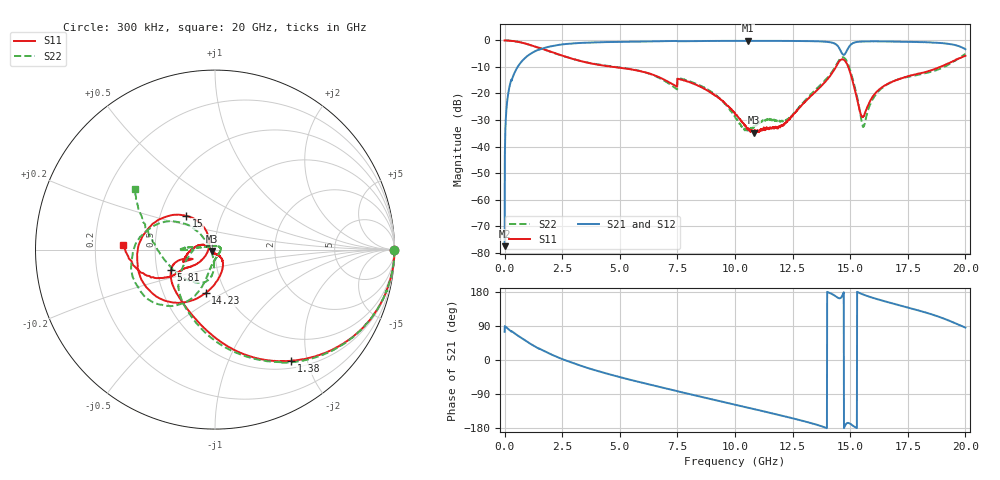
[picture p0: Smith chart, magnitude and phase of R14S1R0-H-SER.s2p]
!{R14S1R0}
!Johanson Technology Inc.
!www.johansontechnology.com
!Test Board Conditions:
!Substrate Type  RO4350B
!Substrate Thickness  20 mil
!Substrate Dk  3.66
!TL Type: GCPW
!TL Trace Width  36 mil
!TL Gap  12 mil
!Electrode orientation  Horizontal
!DUT TOPOLOGY	SERIES
!Mounting Pad LxW  26x36 mil
! Created Wed Nov 25 17:33:21 2020
! 2 Port Network Data from SP1.SP block
! freq  magS11  angS11  magS21  angS21  magS12  angS12  magS22  angS22
# khz S ma R 50
! decimated to every 10th point (10 MHz spacing) of the original 1 MHz Johanson file; values unchanged
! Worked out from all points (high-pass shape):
!   2001 points, 300 kHz to 20 GHz, reference 50 ohm
!   highest |S21| = -0.14 dB at 10.58 GHz (marker M1); lowest = -77.6 dB at 300 kHz (marker M2)
!   |S21| within 3 dB of the highest: 1.613 GHz to 14.54 GHz (12.93 GHz wide, 160 % of centre); 14.9 GHz to 19.97 GHz (5.073 GHz wide, 29.1 % of centre)
!   lowest |S11| = -34.8 dB at 10.83 GHz (marker M3), VSWR 1.04, Z = 48.4 - j0.805 ohm
!   |S11| at or under -10 dB: 4.734 GHz to 14.38 GHz (9.647 GHz wide, 101 % of centre); 14.92 GHz to 18.9 GHz (3.986 GHz wide, 23.6 % of centre)
!   |S22| runs from -34.5 to 0.0 dB; largest |S21 - S12| = 0.013
!   S11 on the Smith chart (normalised r, x): 300 kHz: open; 1.38 GHz: 0.61, -1.73; 5.81 GHz: 0.59, -0.14; 14.23 GHz: 0.80, -0.42; 15 GHz: 0.68, +0.27; 20 GHz: 0.32, +0.02
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300  0.9972 -0.2  0.000132 74.3  0.0002257 75.4  0.997 -0.2
110300  0.9971 -5.3  0.07039 84.4  0.0707 84.3  0.9971 -5.4
230300  0.9879 -11.1  0.1457 78.2  0.1462 78.3  0.9878 -11.2
670300  0.9257 -29.0  0.3684 60.4  0.3684 60.4  0.9263 -29.3
1380300  0.7505 -55.7  0.6426 33.4  0.6438 33.3  0.7533 -56.5
3340300  0.4052 -104.9  0.9 -15.8  0.9013 -15.8  0.406 -107.4
5810300  0.2684 -155.5  0.9519 -57.5  0.9517 -57.6  0.2711 -138.4
6670300  0.2058 -163.6  0.9658 -70.2  0.9655 -70.2  0.2002 -152.3
8590300  0.1277 178.7  0.9755 -98.0  0.9747 -97.9  0.1344 174.6
1.00003e7  0.04222 157.0  0.9817 -117.9  0.9822 -117.9  0.0363 149.7
1.05803e7  0.02206 -174.9  0.984 -126.2  0.9812 -126.0  0.02036 78.9
1.08303e7  0.01815 -152.8  0.9822 -129.7  0.9813 -129.6  0.02421 51.5
1.22303e7  0.02851 -69.2  0.9801 -149.9  0.9805 -149.9  0.0311 -45.8
1.33403e7  0.09359 -61.7  0.9687 -167.2  0.9699 -167.2  0.1015 -103.2
1.42303e7  0.2483 -102.2  0.9056 173.2  0.9088 173.3  0.2635 -112.3
1.46903e7  0.4381 -170.8  0.5422 174.3  0.5416 174.1  0.4822 -163.1
1.50003e7  0.2482 130.6  0.8132 -168.2  0.811 -168.2  0.2739 145.1
1.55703e7  0.03693 178.3  0.9571 172.6  0.9563 172.6  0.02357 -156.7
1.60303e7  0.09406 -141.7  0.9607 163.1  0.9612 163.3  0.08495 -93.9
1.66703e7  0.1538 -144.2  0.9561 152.0  0.9532 152.2  0.1542 -98.5
1.85103e7  0.2724 -148.3  0.9168 121.0  0.9141 120.8  0.2567 -152.8
2e7  0.5148 176.9  0.6827 85.4  0.6718 85.5  0.5568 142.9
